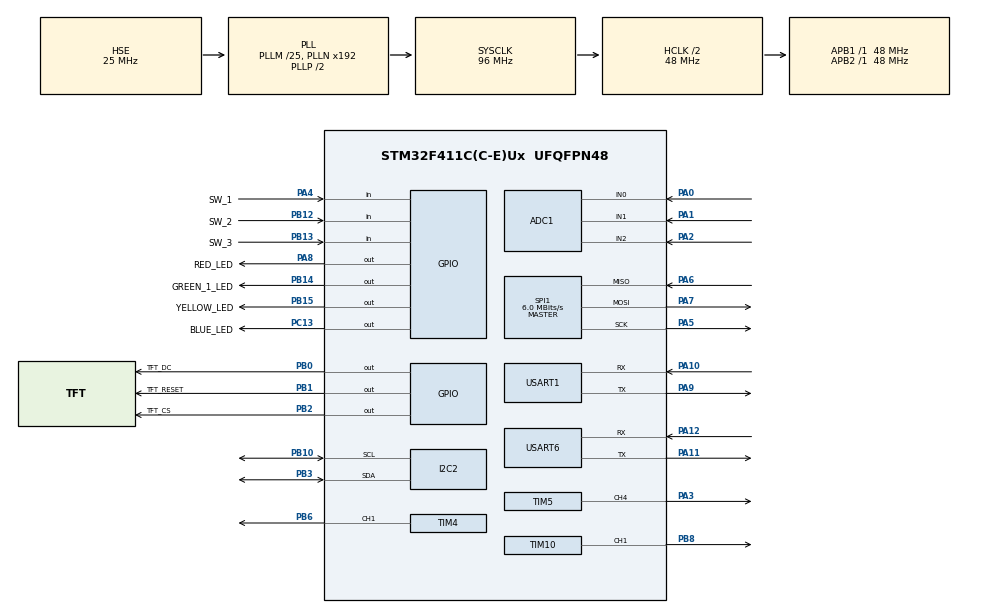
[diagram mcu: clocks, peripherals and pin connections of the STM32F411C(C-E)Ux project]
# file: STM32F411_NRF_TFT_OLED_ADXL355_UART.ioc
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ADC1.Channel-0\#ChannelRegularConversion=ADC_CHANNEL_0
ADC1.Channel-1\#ChannelRegularConversion=ADC_CHANNEL_1
ADC1.Channel-2\#ChannelRegularConversion=ADC_CHANNEL_2
ADC1.ContinuousConvMode=ENABLE
ADC1.DMAContinuousRequests=ENABLE
ADC1.EOCSelection=ADC_EOC_SEQ_CONV
ADC1.NbrOfConversion=3
ADC1.NbrOfConversionFlag=1
ADC1.Rank-0\#ChannelRegularConversion=1
ADC1.Rank-1\#ChannelRegularConversion=2
ADC1.Rank-2\#ChannelRegularConversion=3
ADC1.SamplingTime-0\#ChannelRegularConversion=ADC_SAMPLETIME_3CYCLES
ADC1.SamplingTime-1\#ChannelRegularConversion=ADC_SAMPLETIME_3CYCLES
ADC1.SamplingTime-2\#ChannelRegularConversion=ADC_SAMPLETIME_3CYCLES
ADC1.ScanConvMode=ENABLE
ADC1.master=1
Dma.ADC1.0.Direction=DMA_PERIPH_TO_MEMORY
Dma.ADC1.0.FIFOMode=DMA_FIFOMODE_DISABLE
Dma.ADC1.0.Instance=DMA2_Stream0
Dma.ADC1.0.MemDataAlignment=DMA_MDATAALIGN_HALFWORD
Dma.ADC1.0.MemInc=DMA_MINC_ENABLE
Dma.ADC1.0.Mode=DMA_CIRCULAR
Dma.ADC1.0.PeriphDataAlignment=DMA_PDATAALIGN_HALFWORD
Dma.ADC1.0.PeriphInc=DMA_PINC_DISABLE
Dma.ADC1.0.Priority=DMA_PRIORITY_LOW
Dma.Request0=ADC1
Mcu.Family=STM32F4
Mcu.Name=STM32F411C(C-E)Ux
Mcu.Package=UFQFPN48
NVIC.DMA2_Stream0_IRQn=true\:0\:0\:false\:false\:true\:false\:true\:true
NVIC.PriorityGroup=NVIC_PRIORITYGROUP_4
NVIC.RTC_WKUP_IRQn=true\:0\:0\:false\:false\:true\:true\:true\:true
NVIC.TIM1_TRG_COM_TIM11_IRQn=true\:0\:0\:false\:false\:true\:true\:true\:true
NVIC.USART1_IRQn=true\:0\:0\:false\:false\:true\:true\:true\:true
NVIC.USART6_IRQn=true\:0\:0\:false\:false\:true\:true\:true\:true
PA0-WKUP.Signal=ADCx_IN0
PA1.Signal=ADCx_IN1
PA10.Mode=Asynchronous
PA10.Signal=USART1_RX
PA11.Mode=Asynchronous
PA11.Signal=USART6_TX
PA12.Mode=Asynchronous
PA12.Signal=USART6_RX
PA13.Mode=Serial_Wire
PA13.Signal=SYS_JTMS-SWDIO
PA14.Mode=Serial_Wire
PA14.Signal=SYS_JTCK-SWCLK
PA2.Signal=ADCx_IN2
PA3.Signal=S_TIM5_CH4
PA4.GPIO_Label=SW_1
PA4.GPIO_PuPd=GPIO_PULLUP
PA4.Signal=GPIO_Input
PA5.Mode=Full_Duplex_Master
PA5.Signal=SPI1_SCK
PA6.Mode=Full_Duplex_Master
PA6.Signal=SPI1_MISO
PA7.Mode=Full_Duplex_Master
PA7.Signal=SPI1_MOSI
PA8.GPIO_Label=RED_LED
PA8.Signal=GPIO_Output
PA9.Mode=Asynchronous
PA9.Signal=USART1_TX
PB0.GPIO_Label=TFT_DC
PB0.Signal=GPIO_Output
PB1.GPIO_Label=TFT_RESET
PB1.Signal=GPIO_Output
PB10.Mode=I2C
PB10.Signal=I2C2_SCL
PB12.GPIO_Label=SW_2
PB12.Signal=GPIO_Input
PB13.GPIO_Label=SW_3
PB13.Signal=GPIO_Input
PB14.GPIO_Label=GREEN_1_LED
PB14.Signal=GPIO_Output
PB15.GPIO_Label=YELLOW_LED
PB15.Signal=GPIO_Output
PB2.GPIO_Label=TFT_CS
PB2.Signal=GPIO_Output
PB3.Mode=I2C
PB3.Signal=I2C2_SDA
PB6.Signal=S_TIM4_CH1
PB8.Signal=S_TIM10_CH1
PC13-ANTI_TAMP.GPIO_Label=BLUE_LED
PC13-ANTI_TAMP.Signal=GPIO_Output
PC14-OSC32_IN.Mode=LSE-External-Oscillator
PC14-OSC32_IN.Signal=RCC_OSC32_IN
PC15-OSC32_OUT.Mode=LSE-External-Oscillator
PC15-OSC32_OUT.Signal=RCC_OSC32_OUT
PH0\ -\ OSC_IN.Mode=HSE-External-Oscillator
PH0\ -\ OSC_IN.Signal=RCC_OSC_IN
PH1\ -\ OSC_OUT.Mode=HSE-External-Oscillator
PH1\ -\ OSC_OUT.Signal=RCC_OSC_OUT
ProjectManager.HeapSize=0x200
ProjectManager.StackSize=0x400
ProjectManager.TargetToolchain=STM32CubeIDE
RCC.48MHZClocksFreq_Value=48000000
RCC.AHBCLKDivider=RCC_SYSCLK_DIV2
RCC.AHBFreq_Value=48000000
RCC.APB1Freq_Value=48000000
RCC.APB1TimFreq_Value=48000000
RCC.APB2Freq_Value=48000000
RCC.APB2TimFreq_Value=48000000
RCC.CortexFreq_Value=48000000
RCC.HCLKFreq_Value=48000000
RCC.HSE_VALUE=25000000
RCC.HSI_VALUE=16000000
RCC.PLLM=25
RCC.PLLSourceVirtual=RCC_PLLSOURCE_HSE
RCC.RCC_RTC_Clock_Source=RCC_RTCCLKSOURCE_LSE
RCC.RCC_RTC_Clock_SourceVirtual=RCC_RTCCLKSOURCE_LSE
RCC.SYSCLKFreq_VALUE=96000000
RCC.SYSCLKSource=RCC_SYSCLKSOURCE_PLLCLK
RCC.VCOOutputFreq_Value=192000000
RTC.Date=19
RTC.Format=RTC_FORMAT_BIN
RTC.SynchPrediv=255
SH.ADCx_IN0.0=ADC1_IN0,IN0
SH.ADCx_IN1.0=ADC1_IN1,IN1
SH.ADCx_IN2.0=ADC1_IN2,IN2
SH.S_TIM10_CH1.0=TIM10_CH1,PWM Generation1 CH1
SH.S_TIM4_CH1.0=TIM4_CH1,PWM Generation1 CH1
SH.S_TIM5_CH4.0=TIM5_CH4,PWM Generation4 CH4
SPI1.BaudRatePrescaler=SPI_BAUDRATEPRESCALER_8
SPI1.CalculateBaudRate=6.0 MBits/s
SPI1.Direction=SPI_DIRECTION_2LINES
SPI1.Mode=SPI_MODE_MASTER
SPI1.VirtualType=VM_MASTER
TIM10.Channel=TIM_CHANNEL_1
TIM11.Period=999
TIM11.Prescaler=4799
TIM2.AutoReloadPreload=TIM_AUTORELOAD_PRELOAD_ENABLE
TIM2.Period=49
TIM2.Prescaler=83
TIM4.Channel-PWM\ Generation1\ CH1=TIM_CHANNEL_1
TIM5.AutoReloadPreload=TIM_AUTORELOAD_PRELOAD_ENABLE
TIM5.Channel-PWM\ Generation4\ CH4=TIM_CHANNEL_4
TIM5.Period=999
TIM5.Prescaler=47
USART1.VirtualMode=VM_ASYNC
USART6.VirtualMode=VM_ASYNC
VP_RTC_VS_RTC_Activate.Mode=RTC_Enabled
VP_RTC_VS_RTC_Calendar.Mode=RTC_Calendar
VP_RTC_VS_RTC_WakeUp_intern.Mode=WakeUp
VP_TIM10_VS_ClockSourceINT.Mode=Enable_Timer
VP_TIM11_VS_ClockSourceINT.Mode=Enable_Timer
VP_TIM2_VS_ClockSourceINT.Mode=Internal
VP_TIM4_VS_ClockSourceINT.Mode=Internal
VP_TIM5_VS_ClockSourceINT.Mode=Internal
board=custom

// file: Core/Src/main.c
/* USER CODE BEGIN Header */
/**
  ******************************************************************************
  * @file           : main.c
  * @brief          : Main program body
  ******************************************************************************
  * @attention
  *
  * Copyright (c) 2025 STMicroelectronics.
  * All rights reserved.
  *
  * This software is licensed under terms that can be found in the LICENSE file
  * in the root directory of this software component.
  * If no LICENSE file comes with this software, it is provided AS-IS.
  *
  ******************************************************************************
  */
/* USER CODE END Header */
#include "main.h"

/* USER CODE BEGIN Includes */
#include "bme280.h"
#include "ssd1306.h"
#include "font5x7.h"
#include "ili9341.h"
#include "mem_usage.h"
#include "i2clcd.h"
#include <stdio.h>
#include <string.h>
#include <stdlib.h>
#include <math.h>
#include <stdbool.h>
#include <time.h>
#include <inttypes.h>
#include <unistd.h>
#include "adxl335.h"

/* USER CODE END Includes */

/* USER CODE BEGIN PD */
#define BME280_I2C_ADDR BME280_I2C_ADDR_0x76
#define SLEEP_DURATION_MS 2000
#define UART_BUFFER_SIZE 255
#define TFT_BUFFER_SIZE 320
#define ADC_MAX_VALUE 4095.0
#define VREF_MV 3300.0  // Reference voltage in millivolts
#define TRUE 1
#define FALSE 0
#define ON 1
#define OFF 0
#define HIGH 1
#define LOW 0
#define SENSORCOUNT 3 // Number of sensors
#define ADC_CH_COUNT 3 // Number of ADC channels used
// 20x4 LCD
#define ROWS 4
#define COLS 20
#define ADC_DMA_INDEX_IN0 0
#define ADC_DMA_INDEX_IN1 1
#define ADC_DMA_INDEX_IN2 2
#define HOURS_24 19
#define MINUTES_60 53

/* USER CODE END PD */

/* USER CODE BEGIN PM */

volatile uint16_t adc_dma_buffer[ADC_CH_COUNT];
//static char lcd_line_1[COLS + 1];
//static char lcd_line_2[COLS + 1];
//static char lcd_line_3[COLS + 1];
//static char lcd_line_4[COLS + 1];
//char uartBuffer[UART_BUFFER_SIZE];
//char tftBuffer1[UART_BUFFER_SIZE];
//char tftBuffer2[UART_BUFFER_SIZE];
//char tftBuffer3[UART_BUFFER_SIZE];
//char tftBuffer4[UART_BUFFER_SIZE];
//char tftBuffer5[UART_BUFFER_SIZE];
//char tftBuffer6[UART_BUFFER_SIZE];
//char tftBuffer7[UART_BUFFER_SIZE];
char dateStr[16];
char timeStr[16];
volatile uint8_t tick100ms = 0;
volatile uint8_t tick500ms = 0;
volatile uint8_t tick1s = 0;
volatile uint32_t err_code = 0;
static uint32_t arr5=0, arr4=0, arr10=0;

#define CHECK_OK(expr, code) do { \
  err_code = (code); \
  if ((expr) != HAL_OK) Error_Handler(); \
} while(0)

typedef struct
{
	char uartBuffer[UART_BUFFER_SIZE];
} usart_data_t;

typedef struct
{
	char tftBuffer[TFT_BUFFER_SIZE];
} tft_data_t;

typedef struct
{
	char lcdBuffer[COLS + 1];
} lcd_data_t;

lcd_data_t lcd_data[ROWS]; // For 4 LCD lines

tft_data_t tft_data[10]; // For 10 TFT messages

usart_data_t usart_data[2]; // For USART1 and USART6

BME280_Handle bme280;

ADXL335_State adxl;

/* USER CODE END PM */

ADC_HandleTypeDef hadc1;
DMA_HandleTypeDef hdma_adc1;

I2C_HandleTypeDef hi2c2;

RTC_HandleTypeDef hrtc;

SPI_HandleTypeDef hspi1;

TIM_HandleTypeDef htim2;
TIM_HandleTypeDef htim4;
TIM_HandleTypeDef htim5;
TIM_HandleTypeDef htim10;
TIM_HandleTypeDef htim11;

UART_HandleTypeDef huart1;
UART_HandleTypeDef huart6;

/* USER CODE BEGIN PV */

extern SPI_HandleTypeDef hspi1;

extern uint8_t _end;

ili9341_t tft = {
	.hspi = &hspi1,
	.cs_port = TFT_CS_GPIO_Port,
	.cs_pin  = TFT_CS_Pin,
	.dc_port = TFT_DC_GPIO_Port,
	.dc_pin  = TFT_DC_Pin,
	.rst_port= TFT_RESET_GPIO_Port,
	.rst_pin = TFT_RESET_Pin
};

/* USER CODE END PV */

void SystemClock_Config(void);
static void MX_GPIO_Init(void);
static void MX_DMA_Init(void);
static void MX_I2C2_Init(void);
static void MX_USART1_UART_Init(void);
static void MX_ADC1_Init(void);
static void MX_RTC_Init(void);
static void MX_SPI1_Init(void);
static void MX_TIM2_Init(void);
static void MX_USART6_UART_Init(void);
static void MX_TIM5_Init(void);
static void MX_TIM11_Init(void);
static void MX_TIM4_Init(void);
static void MX_TIM10_Init(void);
/* USER CODE BEGIN PFP */
static void uart_1_print(const char *s);
static void uart_6_print(const char *s);
static void display_time_date(void);
static void RTC_GetDateTimeStrings(char *dateOut, size_t dateSz, char *timeOut, size_t timeSz);
//static uint16_t ADC1_ReadChannel(uint32_t channel);
static void int_lcd_buffer(lcd_data_t *lcd);
static void int_tft_buffer(tft_data_t *tft);
static void init_uart_buffer(usart_data_t *usart);
static inline uint32_t get_msp(void);
uint32_t Ram_FreeNow(void);
static uint16_t checkSum(const char *str);
static void I2C2_BusRecover(void);

/* USER CODE END PFP */

int main(void)
{

  /* MCU Configuration--------------------------------------------------------*/

  /* Reset of all peripherals, Initializes the Flash interface and the Systick. */
  HAL_Init();

  /* USER CODE BEGIN Init */
  uint32_t flash_used = Mem_FlashUsed();
  uint32_t flash_total = Mem_FlashTotal();
  uint32_t sram_used = Mem_RamUsedStatic();
  uint32_t sram_total = Mem_RamTotal();
  static float bme280_Temp = 0.0;
  static float bme280_Pres = 0.0;
  static float bme280_Hum = 0.0;
  static volatile uint32_t live_free_ram = 0;
  /* USER CODE END Init */

  /* Configure the system clock */
  SystemClock_Config();

  /* Initialize all configured peripherals */
  MX_GPIO_Init();
  MX_DMA_Init();
  I2C2_BusRecover();
  MX_I2C2_Init();
  MX_USART1_UART_Init();
  MX_ADC1_Init();
  MX_RTC_Init();
  MX_SPI1_Init();
  MX_TIM2_Init();
  MX_USART6_UART_Init();
  MX_TIM5_Init();
  MX_TIM11_Init();
  MX_TIM4_Init();
  MX_TIM10_Init();
  /* USER CODE BEGIN 2 */
  // BME280_Status bme280_init(BME280_Handle *dev, I2C_HandleTypeDef *hi2c, uint8_t i2c_addr)
  //intialize clear of the buffer for lcd, tft and uart
  for(uint8_t i = 0; i < ROWS; i++)
  {
	  int_lcd_buffer(&lcd_data[i]);
  }
  for(uint8_t i = 0; i < 10; i++)
  {
	  int_tft_buffer(&tft_data[i]);
  }
  for(uint8_t i = 0; i < 2; i++)
  {
	  init_uart_buffer(&usart_data[i]);
  }
  SSD1306_Init();
  // Force all pixels ON (if comms + init OK)
  SSD1306_InvertDisplay(false);
  HAL_Delay(50);

  // Command 0xA5 = Entire display ON (ignores RAM)
  extern void SSD1306_Debug_AllPixelsOn(void);
  SSD1306_Debug_AllPixelsOn();
  HAL_Delay(1000);
  SSD1306_Debug_ResumeRAM();

  SSD1306_Fill(SSD1306_COLOR_BLACK);
  SSD1306_SetCursor(0, 0);
  SSD1306_WriteString("Hello World", SSD1306_COLOR_WHITE);
  SSD1306_SetCursor(0, 16);
  SSD1306_WriteString("BME280 Test", SSD1306_COLOR_WHITE);
  SSD1306_UpdateScreen();
  bme280_init(&bme280, &hi2c2, BME280_I2C_ADDR);
  lcd_init();
  HAL_Delay(50);
  lcd_clear();
  HAL_Delay(50);
  ILI9341_Init(&tft);
  HAL_Delay(50);
  ILI9341_SetRotation(&tft, 1); // Landscape mode
  HAL_GPIO_WritePin(GPIOB, GPIO_PIN_2, GPIO_PIN_SET); // CS high
  HAL_GPIO_WritePin(GPIOA, GPIO_PIN_4, GPIO_PIN_SET); // DC high
  HAL_GPIO_WritePin(GPIOA, GPIO_PIN_3, GPIO_PIN_SET); // RESET high

  ILI9341_FillScreen(&tft, ILI9341_BLACK);
  ILI9341_DrawString(&tft, 10, 0, "TFT OK", ILI9341_YELLOW, ILI9341_BLACK, 1);

  HAL_TIM_PWM_Start(&htim5, TIM_CHANNEL_4);
  HAL_TIM_PWM_Start(&htim4, TIM_CHANNEL_1);
  HAL_TIM_PWM_Start(&htim10, TIM_CHANNEL_1);

  arr5  = __HAL_TIM_GET_AUTORELOAD(&htim5);
  arr4  = __HAL_TIM_GET_AUTORELOAD(&htim4);
  arr10 = __HAL_TIM_GET_AUTORELOAD(&htim10);

  for (uint16_t d = 0; d < arr4; d += (arr4/50)) {
    __HAL_TIM_SET_COMPARE(&htim4, TIM_CHANNEL_1, d);
    HAL_Delay(20);
  }
  for (int d = arr4; d >= 0; d -= (arr4/50)) {
    __HAL_TIM_SET_COMPARE(&htim4, TIM_CHANNEL_1, d);
    HAL_Delay(20);
  }

  for (uint16_t d = 0; d < arr5; d += (arr5/50)) {
	__HAL_TIM_SET_COMPARE(&htim5, TIM_CHANNEL_4, d);
	HAL_Delay(20);
  }

  for (int d = arr5; d >= 0; d -= (arr5/50)) {
	  __HAL_TIM_SET_COMPARE(&htim5, TIM_CHANNEL_4, d);
	  HAL_Delay(20);
  }

  for (uint16_t d = 0; d < arr10; d += (arr10/50)) {
	  __HAL_TIM_SET_COMPARE(&htim10, TIM_CHANNEL_1, d);
	  HAL_Delay(20);
  }

  for (int d = arr10; d >= 0; d -= (arr10/50)) {
	  __HAL_TIM_SET_COMPARE(&htim10, TIM_CHANNEL_1, d);
	  HAL_Delay(20);
  }

  HAL_TIM_Base_Start_IT(&htim11); // your 100ms tick

  // start ADC DMA ONLY ONCE
  CHECK_OK(HAL_ADC_Start_DMA(&hadc1, (uint32_t*)adc_dma_buffer, ADC_CH_COUNT), 1);

  ADXL335_InitDefaults(&adxl);
  HAL_Delay(200);
  ADXL335_CalibrateFlat(&adxl,800);

  /* USER CODE END 2 */

  /* Infinite loop */
  /* USER CODE BEGIN WHILE */
  while (1)
  {
	  display_time_date();
	  if(tick100ms)
	  {
		  tick100ms = 0;
		  tick1s++;
		  live_free_ram = Ram_FreeNow();
		  ADXL335_Update(&adxl);

		  uint16_t ccr5  = ADXL335_TiltToPwmCcr(&adxl, arr5);
		  uint16_t ccr4  = ADXL335_TiltToPwmCcr(&adxl, arr4);
		  uint16_t ccr10 = ADXL335_TiltToPwmCcr(&adxl, arr10);

		  __HAL_TIM_SET_COMPARE(&htim5,  TIM_CHANNEL_4, ccr5);
		  __HAL_TIM_SET_COMPARE(&htim4,  TIM_CHANNEL_1, ccr4);
		  __HAL_TIM_SET_COMPARE(&htim10, TIM_CHANNEL_1, ccr10);

		  if(HAL_GPIO_ReadPin(SW_1_GPIO_Port, SW_1_Pin) == GPIO_PIN_RESET)
		  {
			  HAL_GPIO_WritePin(GREEN_1_LED_GPIO_Port, GREEN_1_LED_Pin, GPIO_PIN_SET);
			  MX_I2C2_Init();
		  	  HAL_Delay(100);
			  MX_SPI1_Init();
			  HAL_Delay(100);
		 	  lcd_clear();
 			  HAL_Delay(50);
 			  lcd_init();
 			  HAL_Delay(50);
		  	  lcd_clear();
		  	  HAL_GPIO_WritePin(GREEN_1_LED_GPIO_Port, GREEN_1_LED_Pin, GPIO_PIN_RESET);
		  }

		  // select a random sensor channel between 0 and SENSORCOUNT-1
		  uint8_t idx = (rand() % ADC_CH_COUNT);   // idx = 0..ADC_CH_COUNT-1
		  uint16_t adcValue = adc_dma_buffer[idx];
		  float voltage_mV = ((float)adcValue * (float)VREF_MV) / (float)ADC_MAX_VALUE;

		  bme280_read_all(&bme280, &bme280_Temp, &bme280_Pres, &bme280_Hum);

		  tick500ms++;
		  if(tick500ms >= 5)
		  {
			  tick500ms = 0;
			  lcd_clear();
			  snprintf(lcd_data[0].lcdBuffer, COLS + 1, "T:%.1f%cC H:%.1f%%", bme280_Temp, (char)0xDF, bme280_Hum);
			  snprintf(lcd_data[1].lcdBuffer, COLS + 1, "P:%.1fhPa", bme280_Pres / 100.0);
			  snprintf(lcd_data[2].lcdBuffer, COLS + 1, "ADC%d:%4u->V:%4umV", (unsigned)(idx+1), (unsigned)adcValue, (uint16_t)voltage_mV);
			  snprintf(lcd_data[3].lcdBuffer, COLS + 1, "Sleep:%ums", SLEEP_DURATION_MS);
			  lcd_write(lcd_data[0].lcdBuffer, 0, 0);
			  lcd_write(lcd_data[1].lcdBuffer, 1, 0);
			  lcd_write(lcd_data[2].lcdBuffer, 2, 0);
			  lcd_write(lcd_data[3].lcdBuffer, 3, 0);
		  }

		  HAL_GPIO_TogglePin(BLUE_LED_GPIO_Port, BLUE_LED_Pin);

		  if(bme280_Temp < 18.0 || bme280_Temp > 26.0)
		  {
			  HAL_GPIO_WritePin(RED_LED_GPIO_Port, RED_LED_Pin, GPIO_PIN_SET);
		  }
		  else
		  {
			  HAL_GPIO_WritePin(RED_LED_GPIO_Port, RED_LED_Pin, GPIO_PIN_RESET);
		  }

		  if(bme280_Hum < 10.0 || bme280_Hum > 50.0)
		  {
			  HAL_GPIO_WritePin(YELLOW_LED_GPIO_Port, YELLOW_LED_Pin, GPIO_PIN_SET);
		  }
		  else
		  {
			  HAL_GPIO_WritePin(YELLOW_LED_GPIO_Port, YELLOW_LED_Pin, GPIO_PIN_RESET);
		  }

		  if(tick1s >= 10)
		  {
			  tick1s = 0;
			  // clear terminal
			  snprintf(usart_data[1].uartBuffer, UART_BUFFER_SIZE, "\033[2J\033[H");
			  uart_1_print(usart_data[1].uartBuffer);

			  // Print ADC reading
			  snprintf(usart_data[1].uartBuffer, UART_BUFFER_SIZE, "ADC Rank: %u, ADC Value: %u, Voltage: %.2f mV\r\n", (unsigned)(idx+1), (unsigned)adcValue, voltage_mV);
			  uart_1_print(usart_data[1].uartBuffer);

			  // Read BME280 sensor data
			  snprintf(usart_data[1].uartBuffer, UART_BUFFER_SIZE, "BME280 - Temp: %.1f°C, Humidity: %.1f %%, Pressure: %.1f hPa\r\n", bme280_Temp, bme280_Hum, bme280_Pres / 100.0);
			  uart_1_print(usart_data[1].uartBuffer);

			  // Print memory usage
			  snprintf(usart_data[1].uartBuffer, UART_BUFFER_SIZE,"FLASH Used: %lu / %lu bytes => %u%%/100%%\r\n", (unsigned long)flash_used, (unsigned long)flash_total, (unsigned)((flash_used * 100UL) / flash_total));
			  uart_1_print(usart_data[1].uartBuffer);

			  // Print SRAM usage
			  snprintf(usart_data[1].uartBuffer, UART_BUFFER_SIZE,"SRAM Used: %lu / %lu bytes => %u%%/100%%\r\n", (unsigned long)sram_used, (unsigned long)sram_total, (unsigned)((sram_used * 100UL) / sram_total));
			  uart_1_print(usart_data[1].uartBuffer);

			  // Print live free RAM
			  snprintf(usart_data[1].uartBuffer, UART_BUFFER_SIZE,"Live Free RAM: %lu bytes\r\n", (unsigned long)live_free_ram);
			  uart_1_print(usart_data[1].uartBuffer);

			  int n = snprintf(usart_data[0].uartBuffer, UART_BUFFER_SIZE,
			      "$%u,%u,%.2f,%.1f,%.1f,%.1f,%lu,%lu,%u,%lu,%lu,%u,%lu",
			      (unsigned)(idx+1),(unsigned)adcValue,voltage_mV,
			      bme280_Temp,bme280_Hum,bme280_Pres / 100.0,
			      (unsigned long)flash_used,(unsigned long)flash_total,
			      (unsigned)((flash_used * 100UL) / flash_total),
			      (unsigned long)sram_used,(unsigned long)sram_total,
			      (unsigned)((sram_used * 100UL) / sram_total),
			      (unsigned long)live_free_ram
			  );

			  if (n > 0 && n < (UART_BUFFER_SIZE - 12))
			  {
			      uint16_t cs = checkSum(usart_data[0].uartBuffer);

			      // IMPORTANT: add comma + checksum + \r\n
			      snprintf(usart_data[0].uartBuffer + n, UART_BUFFER_SIZE - n,
			               ",%u\r\n", (unsigned)cs);

			      uart_1_print(usart_data[0].uartBuffer);
			  }

		  }

		  // Prepare TFT display strings
		  snprintf(tft_data[0].tftBuffer, UART_BUFFER_SIZE, "Temp: %.1f%cC", bme280_Temp, (char)0xDF);
		  snprintf(tft_data[1].tftBuffer, UART_BUFFER_SIZE, "Hum:  %.1f%%", bme280_Hum);
		  snprintf(tft_data[2].tftBuffer, UART_BUFFER_SIZE, "Pres: %.1fhPa", bme280_Pres / 100.0);
		  snprintf(tft_data[3].tftBuffer, UART_BUFFER_SIZE, "Live RAM: %lu Bytes", (unsigned long)live_free_ram);

		  ILI9341_FillRect(&tft, 0, 240, tft.width, 100, ILI9341_BLACK);
		  // Draw the text
		  ILI9341_DrawString(&tft, 10, 8, tft_data[0].tftBuffer, ILI9341_CYAN, ILI9341_BLACK, 1);
		  ILI9341_DrawString(&tft, 10, 16, tft_data[1].tftBuffer, ILI9341_CYAN, ILI9341_BLACK, 1);
		  ILI9341_DrawString(&tft, 10, 24, tft_data[2].tftBuffer, ILI9341_CYAN, ILI9341_BLACK, 1);
		  ILI9341_DrawString(&tft, 10, 32, tft_data[3].tftBuffer, ILI9341_CYAN, ILI9341_BLACK, 1);

	  }
    /* USER CODE END WHILE */

  }
}

void SystemClock_Config(void)
{
  RCC_OscInitTypeDef RCC_OscInitStruct = {0};
  RCC_ClkInitTypeDef RCC_ClkInitStruct = {0};

  /** Configure the main internal regulator output voltage
  */
  __HAL_RCC_PWR_CLK_ENABLE();
  __HAL_PWR_VOLTAGESCALING_CONFIG(PWR_REGULATOR_VOLTAGE_SCALE1);

  /** Initializes the RCC Oscillators according to the specified parameters
  * in the RCC_OscInitTypeDef structure.
  */
  RCC_OscInitStruct.OscillatorType = RCC_OSCILLATORTYPE_HSE|RCC_OSCILLATORTYPE_LSE;
  RCC_OscInitStruct.HSEState = RCC_HSE_ON;
  RCC_OscInitStruct.LSEState = RCC_LSE_ON;
  RCC_OscInitStruct.PLL.PLLState = RCC_PLL_ON;
  RCC_OscInitStruct.PLL.PLLSource = RCC_PLLSOURCE_HSE;
  RCC_OscInitStruct.PLL.PLLM = 25;
  RCC_OscInitStruct.PLL.PLLN = 192;
  RCC_OscInitStruct.PLL.PLLP = RCC_PLLP_DIV2;
  RCC_OscInitStruct.PLL.PLLQ = 4;
  if (HAL_RCC_OscConfig(&RCC_OscInitStruct) != HAL_OK)
  {
    Error_Handler();
  }

  /** Initializes the CPU, AHB and APB buses clocks
  */
  RCC_ClkInitStruct.ClockType = RCC_CLOCKTYPE_HCLK|RCC_CLOCKTYPE_SYSCLK
                              |RCC_CLOCKTYPE_PCLK1|RCC_CLOCKTYPE_PCLK2;
  RCC_ClkInitStruct.SYSCLKSource = RCC_SYSCLKSOURCE_PLLCLK;
  RCC_ClkInitStruct.AHBCLKDivider = RCC_SYSCLK_DIV2;
  RCC_ClkInitStruct.APB1CLKDivider = RCC_HCLK_DIV1;
  RCC_ClkInitStruct.APB2CLKDivider = RCC_HCLK_DIV1;

  if (HAL_RCC_ClockConfig(&RCC_ClkInitStruct, FLASH_LATENCY_1) != HAL_OK)
  {
    Error_Handler();
  }
}

static void MX_ADC1_Init(void)
{

  ADC_ChannelConfTypeDef sConfig = {0};

  /** Configure the global features of the ADC (Clock, Resolution, Data Alignment and number of conversion)
  */
  hadc1.Instance = ADC1;
  hadc1.Init.ClockPrescaler = ADC_CLOCK_SYNC_PCLK_DIV2;
  hadc1.Init.Resolution = ADC_RESOLUTION_12B;
  hadc1.Init.ScanConvMode = ENABLE;
  hadc1.Init.ContinuousConvMode = ENABLE;
  hadc1.Init.DiscontinuousConvMode = DISABLE;
  hadc1.Init.ExternalTrigConvEdge = ADC_EXTERNALTRIGCONVEDGE_NONE;
  hadc1.Init.ExternalTrigConv = ADC_SOFTWARE_START;
  hadc1.Init.DataAlign = ADC_DATAALIGN_RIGHT;
  hadc1.Init.NbrOfConversion = 3;
  hadc1.Init.DMAContinuousRequests = ENABLE;
  hadc1.Init.EOCSelection = ADC_EOC_SEQ_CONV;
  if (HAL_ADC_Init(&hadc1) != HAL_OK)
  {
    Error_Handler();
  }

  /** Configure for the selected ADC regular channel its corresponding rank in the sequencer and its sample time.
  */
  sConfig.Channel = ADC_CHANNEL_0;
  sConfig.Rank = 1;
  sConfig.SamplingTime = ADC_SAMPLETIME_84CYCLES;
  if (HAL_ADC_ConfigChannel(&hadc1, &sConfig) != HAL_OK)
  {
    Error_Handler();
  }

  /** Configure for the selected ADC regular channel its corresponding rank in the sequencer and its sample time.
  */
  sConfig.Channel = ADC_CHANNEL_1;
  sConfig.Rank = 2;
  if (HAL_ADC_ConfigChannel(&hadc1, &sConfig) != HAL_OK)
  {
    Error_Handler();
  }

  /** Configure for the selected ADC regular channel its corresponding rank in the sequencer and its sample time.
  */
  sConfig.Channel = ADC_CHANNEL_2;
  sConfig.Rank = 3;
  if (HAL_ADC_ConfigChannel(&hadc1, &sConfig) != HAL_OK)
  {
    Error_Handler();
  }

}

static void MX_I2C2_Init(void)
{

  hi2c2.Instance = I2C2;
  hi2c2.Init.ClockSpeed = 100000;
  hi2c2.Init.DutyCycle = I2C_DUTYCYCLE_2;
  hi2c2.Init.OwnAddress1 = 0;
  hi2c2.Init.AddressingMode = I2C_ADDRESSINGMODE_7BIT;
  hi2c2.Init.DualAddressMode = I2C_DUALADDRESS_DISABLE;
  hi2c2.Init.OwnAddress2 = 0;
  hi2c2.Init.GeneralCallMode = I2C_GENERALCALL_DISABLE;
  hi2c2.Init.NoStretchMode = I2C_NOSTRETCH_DISABLE;
  if (HAL_I2C_Init(&hi2c2) != HAL_OK)
  {
    Error_Handler();
  }

}

static void MX_RTC_Init(void)
{

  RTC_TimeTypeDef sTime = {0};
  RTC_DateTypeDef sDate = {0};

  /** Initialize RTC Only
  */
  hrtc.Instance = RTC;
  hrtc.Init.HourFormat = RTC_HOURFORMAT_24;
  hrtc.Init.AsynchPrediv = 127;
  hrtc.Init.SynchPrediv = 255;
  hrtc.Init.OutPut = RTC_OUTPUT_DISABLE;
  hrtc.Init.OutPutPolarity = RTC_OUTPUT_POLARITY_HIGH;
  hrtc.Init.OutPutType = RTC_OUTPUT_TYPE_OPENDRAIN;
  if (HAL_RTC_Init(&hrtc) != HAL_OK)
  {
    Error_Handler();
  }

  /** Initialize RTC and set the Time and Date
  */
  sTime.Hours = 0;
  sTime.Minutes = 0;
  sTime.Seconds = 0;
  sTime.DayLightSaving = RTC_DAYLIGHTSAVING_NONE;
  sTime.StoreOperation = RTC_STOREOPERATION_RESET;
  if (HAL_RTC_SetTime(&hrtc, &sTime, RTC_FORMAT_BIN) != HAL_OK)
  {
    Error_Handler();
  }
  sDate.WeekDay = RTC_WEEKDAY_MONDAY;
  sDate.Month = RTC_MONTH_JANUARY;
  sDate.Date = 19;
  sDate.Year = 0;

  if (HAL_RTC_SetDate(&hrtc, &sDate, RTC_FORMAT_BIN) != HAL_OK)
  {
    Error_Handler();
  }

  /** Enable the WakeUp
  */
  if (HAL_RTCEx_SetWakeUpTimer_IT(&hrtc, 0, RTC_WAKEUPCLOCK_RTCCLK_DIV16) != HAL_OK)
  {
    Error_Handler();
  }

}

static void MX_SPI1_Init(void)
{

  /* SPI1 parameter configuration*/
  hspi1.Instance = SPI1;
  hspi1.Init.Mode = SPI_MODE_MASTER;
  hspi1.Init.Direction = SPI_DIRECTION_2LINES;
  hspi1.Init.DataSize = SPI_DATASIZE_8BIT;
  hspi1.Init.CLKPolarity = SPI_POLARITY_LOW;
  hspi1.Init.CLKPhase = SPI_PHASE_1EDGE;
  hspi1.Init.NSS = SPI_NSS_SOFT;
  hspi1.Init.BaudRatePrescaler = SPI_BAUDRATEPRESCALER_8;
  hspi1.Init.FirstBit = SPI_FIRSTBIT_MSB;
  hspi1.Init.TIMode = SPI_TIMODE_DISABLE;
  hspi1.Init.CRCCalculation = SPI_CRCCALCULATION_DISABLE;
  hspi1.Init.CRCPolynomial = 10;
  if (HAL_SPI_Init(&hspi1) != HAL_OK)
  {
    Error_Handler();
  }

}

static void MX_TIM2_Init(void)
{

  TIM_ClockConfigTypeDef sClockSourceConfig = {0};
  TIM_MasterConfigTypeDef sMasterConfig = {0};

  htim2.Instance = TIM2;
  htim2.Init.Prescaler = 83;
  htim2.Init.CounterMode = TIM_COUNTERMODE_UP;
  htim2.Init.Period = 49;
  htim2.Init.ClockDivision = TIM_CLOCKDIVISION_DIV1;
  htim2.Init.AutoReloadPreload = TIM_AUTORELOAD_PRELOAD_ENABLE;
  if (HAL_TIM_Base_Init(&htim2) != HAL_OK)
  {
    Error_Handler();
  }
  sClockSourceConfig.ClockSource = TIM_CLOCKSOURCE_INTERNAL;
  if (HAL_TIM_ConfigClockSource(&htim2, &sClockSourceConfig) != HAL_OK)
  {
    Error_Handler();
  }
  sMasterConfig.MasterOutputTrigger = TIM_TRGO_RESET;
  sMasterConfig.MasterSlaveMode = TIM_MASTERSLAVEMODE_DISABLE;
  if (HAL_TIMEx_MasterConfigSynchronization(&htim2, &sMasterConfig) != HAL_OK)
  {
    Error_Handler();
  }

}

static void MX_TIM4_Init(void)
{

  TIM_ClockConfigTypeDef sClockSourceConfig = {0};
  TIM_MasterConfigTypeDef sMasterConfig = {0};
  TIM_OC_InitTypeDef sConfigOC = {0};

  htim4.Instance = TIM4;
  htim4.Init.Prescaler = 47;
  htim4.Init.CounterMode = TIM_COUNTERMODE_UP;
  htim4.Init.Period = 999;
  htim4.Init.ClockDivision = TIM_CLOCKDIVISION_DIV1;
  htim4.Init.AutoReloadPreload = TIM_AUTORELOAD_PRELOAD_ENABLE;
  if (HAL_TIM_Base_Init(&htim4) != HAL_OK)
  {
    Error_Handler();
  }
  sClockSourceConfig.ClockSource = TIM_CLOCKSOURCE_INTERNAL;
  if (HAL_TIM_ConfigClockSource(&htim4, &sClockSourceConfig) != HAL_OK)
  {
    Error_Handler();
  }
  if (HAL_TIM_PWM_Init(&htim4) != HAL_OK)
  {
    Error_Handler();
  }
  sMasterConfig.MasterOutputTrigger = TIM_TRGO_RESET;
  sMasterConfig.MasterSlaveMode = TIM_MASTERSLAVEMODE_DISABLE;
  if (HAL_TIMEx_MasterConfigSynchronization(&htim4, &sMasterConfig) != HAL_OK)
  {
    Error_Handler();
  }
  sConfigOC.OCMode = TIM_OCMODE_PWM1;
  sConfigOC.Pulse = 0;
  sConfigOC.OCPolarity = TIM_OCPOLARITY_HIGH;
  sConfigOC.OCFastMode = TIM_OCFAST_DISABLE;
  if (HAL_TIM_PWM_ConfigChannel(&htim4, &sConfigOC, TIM_CHANNEL_1) != HAL_OK)
  {
    Error_Handler();
  }
  HAL_TIM_MspPostInit(&htim4);

}

static void MX_TIM5_Init(void)
{

  TIM_ClockConfigTypeDef sClockSourceConfig = {0};
  TIM_MasterConfigTypeDef sMasterConfig = {0};
  TIM_OC_InitTypeDef sConfigOC = {0};

  htim5.Instance = TIM5;
  htim5.Init.Prescaler = 47;
  htim5.Init.CounterMode = TIM_COUNTERMODE_UP;
  htim5.Init.Period = 999;
  htim5.Init.ClockDivision = TIM_CLOCKDIVISION_DIV1;
  htim5.Init.AutoReloadPreload = TIM_AUTORELOAD_PRELOAD_ENABLE;
  if (HAL_TIM_Base_Init(&htim5) != HAL_OK)
  {
    Error_Handler();
  }
  sClockSourceConfig.ClockSource = TIM_CLOCKSOURCE_INTERNAL;
  if (HAL_TIM_ConfigClockSource(&htim5, &sClockSourceConfig) != HAL_OK)
  {
    Error_Handler();
  }
  if (HAL_TIM_PWM_Init(&htim5) != HAL_OK)
  {
    Error_Handler();
  }
  sMasterConfig.MasterOutputTrigger = TIM_TRGO_RESET;
  sMasterConfig.MasterSlaveMode = TIM_MASTERSLAVEMODE_DISABLE;
  if (HAL_TIMEx_MasterConfigSynchronization(&htim5, &sMasterConfig) != HAL_OK)
  {
    Error_Handler();
  }
  sConfigOC.OCMode = TIM_OCMODE_PWM1;
  sConfigOC.Pulse = 0;
  sConfigOC.OCPolarity = TIM_OCPOLARITY_HIGH;
  sConfigOC.OCFastMode = TIM_OCFAST_DISABLE;
  if (HAL_TIM_PWM_ConfigChannel(&htim5, &sConfigOC, TIM_CHANNEL_4) != HAL_OK)
  {
    Error_Handler();
  }
  HAL_TIM_MspPostInit(&htim5);

}

static void MX_TIM10_Init(void)
{

  TIM_OC_InitTypeDef sConfigOC = {0};

  htim10.Instance = TIM10;
  htim10.Init.Prescaler = 47;
  htim10.Init.CounterMode = TIM_COUNTERMODE_UP;
  htim10.Init.Period = 999;
  htim10.Init.ClockDivision = TIM_CLOCKDIVISION_DIV1;
  htim10.Init.AutoReloadPreload = TIM_AUTORELOAD_PRELOAD_ENABLE;
  if (HAL_TIM_Base_Init(&htim10) != HAL_OK)
  {
    Error_Handler();
  }
  if (HAL_TIM_PWM_Init(&htim10) != HAL_OK)
  {
    Error_Handler();
  }
  sConfigOC.OCMode = TIM_OCMODE_PWM1;
  sConfigOC.Pulse = 0;
  sConfigOC.OCPolarity = TIM_OCPOLARITY_HIGH;
  sConfigOC.OCFastMode = TIM_OCFAST_DISABLE;
  if (HAL_TIM_PWM_ConfigChannel(&htim10, &sConfigOC, TIM_CHANNEL_1) != HAL_OK)
  {
    Error_Handler();
  }
  HAL_TIM_MspPostInit(&htim10);

}

static void MX_TIM11_Init(void)
{

  htim11.Instance = TIM11;
  htim11.Init.Prescaler = 4799;
  htim11.Init.CounterMode = TIM_COUNTERMODE_UP;
  htim11.Init.Period = 999;
  htim11.Init.ClockDivision = TIM_CLOCKDIVISION_DIV1;
  htim11.Init.AutoReloadPreload = TIM_AUTORELOAD_PRELOAD_DISABLE;
  if (HAL_TIM_Base_Init(&htim11) != HAL_OK)
  {
    Error_Handler();
  }

}

static void MX_USART1_UART_Init(void)
{

  huart1.Instance = USART1;
  huart1.Init.BaudRate = 115200;
  huart1.Init.WordLength = UART_WORDLENGTH_8B;
  huart1.Init.StopBits = UART_STOPBITS_1;
  huart1.Init.Parity = UART_PARITY_NONE;
  huart1.Init.Mode = UART_MODE_TX_RX;
  huart1.Init.HwFlowCtl = UART_HWCONTROL_NONE;
  huart1.Init.OverSampling = UART_OVERSAMPLING_16;
  if (HAL_UART_Init(&huart1) != HAL_OK)
  {
    Error_Handler();
  }

}

static void MX_USART6_UART_Init(void)
{

  huart6.Instance = USART6;
  huart6.Init.BaudRate = 115200;
  huart6.Init.WordLength = UART_WORDLENGTH_8B;
  huart6.Init.StopBits = UART_STOPBITS_1;
  huart6.Init.Parity = UART_PARITY_NONE;
  huart6.Init.Mode = UART_MODE_TX_RX;
  huart6.Init.HwFlowCtl = UART_HWCONTROL_NONE;
  huart6.Init.OverSampling = UART_OVERSAMPLING_16;
  if (HAL_UART_Init(&huart6) != HAL_OK)
  {
    Error_Handler();
  }

}

static void MX_DMA_Init(void)
{

  /* DMA controller clock enable */
  __HAL_RCC_DMA2_CLK_ENABLE();

  /* DMA interrupt init */
  /* DMA2_Stream0_IRQn interrupt configuration */
  HAL_NVIC_SetPriority(DMA2_Stream0_IRQn, 0, 0);
  HAL_NVIC_DisableIRQ(DMA2_Stream0_IRQn);

}

static void MX_GPIO_Init(void)
{
  GPIO_InitTypeDef GPIO_InitStruct = {0};

  /* GPIO Ports Clock Enable */
  __HAL_RCC_GPIOC_CLK_ENABLE();
  __HAL_RCC_GPIOH_CLK_ENABLE();
  __HAL_RCC_GPIOA_CLK_ENABLE();
  __HAL_RCC_GPIOB_CLK_ENABLE();

  /*Configure GPIO pin Output Level */
  HAL_GPIO_WritePin(BLUE_LED_GPIO_Port, BLUE_LED_Pin, GPIO_PIN_RESET);

  /*Configure GPIO pin Output Level */
  HAL_GPIO_WritePin(GPIOB, TFT_DC_Pin|TFT_RESET_Pin|TFT_CS_Pin|GREEN_1_LED_Pin
                          |YELLOW_LED_Pin, GPIO_PIN_RESET);

  /*Configure GPIO pin Output Level */
  HAL_GPIO_WritePin(RED_LED_GPIO_Port, RED_LED_Pin, GPIO_PIN_RESET);

  /*Configure GPIO pin : BLUE_LED_Pin */
  GPIO_InitStruct.Pin = BLUE_LED_Pin;
  GPIO_InitStruct.Mode = GPIO_MODE_OUTPUT_PP;
  GPIO_InitStruct.Pull = GPIO_NOPULL;
  GPIO_InitStruct.Speed = GPIO_SPEED_FREQ_LOW;
  HAL_GPIO_Init(BLUE_LED_GPIO_Port, &GPIO_InitStruct);

  /*Configure GPIO pin : SW_1_Pin */
  GPIO_InitStruct.Pin = SW_1_Pin;
  GPIO_InitStruct.Mode = GPIO_MODE_INPUT;
  GPIO_InitStruct.Pull = GPIO_PULLUP;
  HAL_GPIO_Init(SW_1_GPIO_Port, &GPIO_InitStruct);

  /*Configure GPIO pins : TFT_DC_Pin TFT_RESET_Pin TFT_CS_Pin GREEN_1_LED_Pin
                           YELLOW_LED_Pin */
  GPIO_InitStruct.Pin = TFT_DC_Pin|TFT_RESET_Pin|TFT_CS_Pin|GREEN_1_LED_Pin
                          |YELLOW_LED_Pin;
  GPIO_InitStruct.Mode = GPIO_MODE_OUTPUT_PP;
  GPIO_InitStruct.Pull = GPIO_NOPULL;
  GPIO_InitStruct.Speed = GPIO_SPEED_FREQ_LOW;
  HAL_GPIO_Init(GPIOB, &GPIO_InitStruct);

  /*Configure GPIO pins : SW_2_Pin SW_3_Pin */
  GPIO_InitStruct.Pin = SW_2_Pin|SW_3_Pin;
  GPIO_InitStruct.Mode = GPIO_MODE_INPUT;
  GPIO_InitStruct.Pull = GPIO_NOPULL;
  HAL_GPIO_Init(GPIOB, &GPIO_InitStruct);

  /*Configure GPIO pin : RED_LED_Pin */
  GPIO_InitStruct.Pin = RED_LED_Pin;
  GPIO_InitStruct.Mode = GPIO_MODE_OUTPUT_PP;
  GPIO_InitStruct.Pull = GPIO_NOPULL;
  GPIO_InitStruct.Speed = GPIO_SPEED_FREQ_LOW;
  HAL_GPIO_Init(RED_LED_GPIO_Port, &GPIO_InitStruct);

}

/* USER CODE BEGIN 4 */

/* static uint16_t ADC1_ReadChannel(uint32_t channel)
{
    ADC_ChannelConfTypeDef sConfig = {0};
    sConfig.Channel      = channel;                     // e.g. ADC_CHANNEL_0
    sConfig.Rank         = 1;                           // single conversion
    sConfig.SamplingTime = ADC_SAMPLETIME_84CYCLES;     // safe default
    if (HAL_ADC_ConfigChannel(&hadc1, &sConfig) != HAL_OK) return 0;

    if (HAL_ADC_Start(&hadc1) != HAL_OK) return 0;

    if (HAL_ADC_PollForConversion(&hadc1, 10) != HAL_OK) // 10 ms timeout
    {
        HAL_ADC_Stop(&hadc1);
        return 0;
    }

    uint16_t value = (uint16_t)HAL_ADC_GetValue(&hadc1);
    HAL_ADC_Stop(&hadc1);
    return value;   // 0..4095 for 12-bit
}// eo ADC1_ReadChannel::
*/

static void uart_1_print(const char *s)
{
  HAL_UART_Transmit(&huart1, (uint8_t*)s, (uint16_t)strlen(s), 100);
}// eo uart_1_print::

static void uart_6_print(const char *s)
{
  HAL_UART_Transmit(&huart6, (uint8_t*)s, (uint16_t)strlen(s), 100);
}// eo uart_6_print::

static void display_time_date(void)
{
	  RTC_GetDateTimeStrings(dateStr, sizeof(dateStr), timeStr, sizeof(timeStr));
	  SSD1306_SetCursor(0, 32);
	  SSD1306_WriteString(dateStr, SSD1306_COLOR_WHITE);
	  SSD1306_SetCursor(0, 48);
	  SSD1306_WriteString(timeStr, SSD1306_COLOR_WHITE);
	  SSD1306_UpdateScreen();
	  //snprintf(tftBuffer5, UART_BUFFER_SIZE, dateStr);
	  snprintf(tft_data[4].tftBuffer, UART_BUFFER_SIZE, dateStr);
	  //snprintf(tftBuffer6, UART_BUFFER_SIZE, timeStr);
	  snprintf(tft_data[5].tftBuffer, UART_BUFFER_SIZE, timeStr);
	  //ILI9341_DrawString(&tft, 10, 50, tftBuffer5, ILI9341_CYAN, ILI9341_BLACK, 2);
	  ILI9341_DrawString(&tft, 10, 50, tft_data[4].tftBuffer, ILI9341_CYAN, ILI9341_BLACK, 2);
	  //ILI9341_DrawString(&tft, 10, 90, tftBuffer6, ILI9341_CYAN, ILI9341_BLACK, 2);
	  ILI9341_DrawString(&tft, 10, 90, tft_data[5].tftBuffer, ILI9341_CYAN, ILI9341_BLACK, 2);
}

static void init_uart_buffer(usart_data_t *uart)
{
	// clear structure
	for(uint16_t i = 0; i < UART_BUFFER_SIZE; i++)
	{
		uart->uartBuffer[i] = 0;
	}
}

static void int_tft_buffer(tft_data_t *tft)
{
	// clear structure
	for(uint16_t i = 0; i < TFT_BUFFER_SIZE; i++)
	{
		tft->tftBuffer[i] = 0;
	}
}

static void int_lcd_buffer(lcd_data_t *lcd)
{
	// clear structure
	for(uint16_t i = 0; i < (COLS + 1); i++)
	{
		lcd->lcdBuffer[i] = 0;
	}
}

void HAL_TIM_PeriodElapsedCallback(TIM_HandleTypeDef *htim)
{
	if(htim->Instance == TIM11)
	{
		tick100ms++;
	}
}

static inline uint32_t get_msp(void)
{
	uint32_t sp;
	__asm volatile ("MRS %0, MSP" : "=r" (sp) );
	return sp;
}

uint32_t Ram_FreeNow(void)
{
	uint8_t *heap_end = (uint8_t*)&_end;
	uint32_t sp = get_msp();
	if((uint32_t)heap_end >= sp)return 0;
	return (uint32_t)(sp - (uint32_t)heap_end);
}

static void RTC_GetDateTimeStrings(char *dateOut, size_t dateSz,
                            char *timeOut, size_t timeSz)
{
    RTC_TimeTypeDef t;
    RTC_DateTypeDef d;

    HAL_RTC_GetTime(&hrtc, &t, RTC_FORMAT_BIN);
    HAL_RTC_GetDate(&hrtc, &d, RTC_FORMAT_BIN);

    uint16_t yyyy = 2000 + d.Year;

    snprintf(dateOut, dateSz, "%02u:%02u:%04u", d.Date, d.Month, yyyy);
    snprintf(timeOut, timeSz, "%02u:%02u:%02u", t.Hours, t.Minutes, t.Seconds);
}

static uint16_t checkSum(const char *msg)
{
    uint16_t sum = 0;
    while (*msg) {
        sum += (uint8_t)(*msg++);
    }
    return sum;
}

static void I2C2_BusRecover(void)
{
    GPIO_InitTypeDef GPIO_InitStruct = {0};

    // Disable I2C2 peripheral
    __HAL_RCC_I2C2_CLK_DISABLE();

    // Configure SCL/SDA as open-drain outputs with pull-ups
    GPIO_InitStruct.Mode  = GPIO_MODE_OUTPUT_OD;
    GPIO_InitStruct.Pull  = GPIO_PULLUP;
    GPIO_InitStruct.Speed = GPIO_SPEED_FREQ_HIGH;

    GPIO_InitStruct.Pin = GPIO_PIN_10;              // PB10 = I2C2_SCL (change if different)
    HAL_GPIO_Init(GPIOB, &GPIO_InitStruct);

    GPIO_InitStruct.Pin = GPIO_PIN_11;              // PB11 = I2C2_SDA (change if different)
    HAL_GPIO_Init(GPIOB, &GPIO_InitStruct);

    // Release lines
    HAL_GPIO_WritePin(GPIOB, GPIO_PIN_10, GPIO_PIN_SET);
    HAL_GPIO_WritePin(GPIOB, GPIO_PIN_11, GPIO_PIN_SET);
    HAL_Delay(1);

    // Clock SCL up to 9 pulses if SDA is stuck low
    for (int i = 0; i < 9; i++)
    {
        if (HAL_GPIO_ReadPin(GPIOB, GPIO_PIN_11) == GPIO_PIN_SET)
            break;

        HAL_GPIO_WritePin(GPIOB, GPIO_PIN_10, GPIO_PIN_RESET);
        HAL_Delay(1);
        HAL_GPIO_WritePin(GPIOB, GPIO_PIN_10, GPIO_PIN_SET);
        HAL_Delay(1);
    }

    // Generate STOP: SDA low -> SCL high -> SDA high
    HAL_GPIO_WritePin(GPIOB, GPIO_PIN_11, GPIO_PIN_RESET);
    HAL_Delay(1);
    HAL_GPIO_WritePin(GPIOB, GPIO_PIN_10, GPIO_PIN_SET);
    HAL_Delay(1);
    HAL_GPIO_WritePin(GPIOB, GPIO_PIN_11, GPIO_PIN_SET);
    HAL_Delay(1);

    // Re-enable I2C2 clock (MX_I2C2_Init will restore AF mode)
    __HAL_RCC_I2C2_CLK_ENABLE();
}

/* USER CODE END 4 */

void Error_Handler(void)
{
  /* USER CODE BEGIN Error_Handler_Debug */
  /* User can add his own implementation to report the HAL error return state */
  __disable_irq();
  while (1)
  {
		HAL_GPIO_TogglePin(RED_LED_GPIO_Port, RED_LED_Pin);
		HAL_Delay(100);
  }
  /* USER CODE END Error_Handler_Debug */
}
